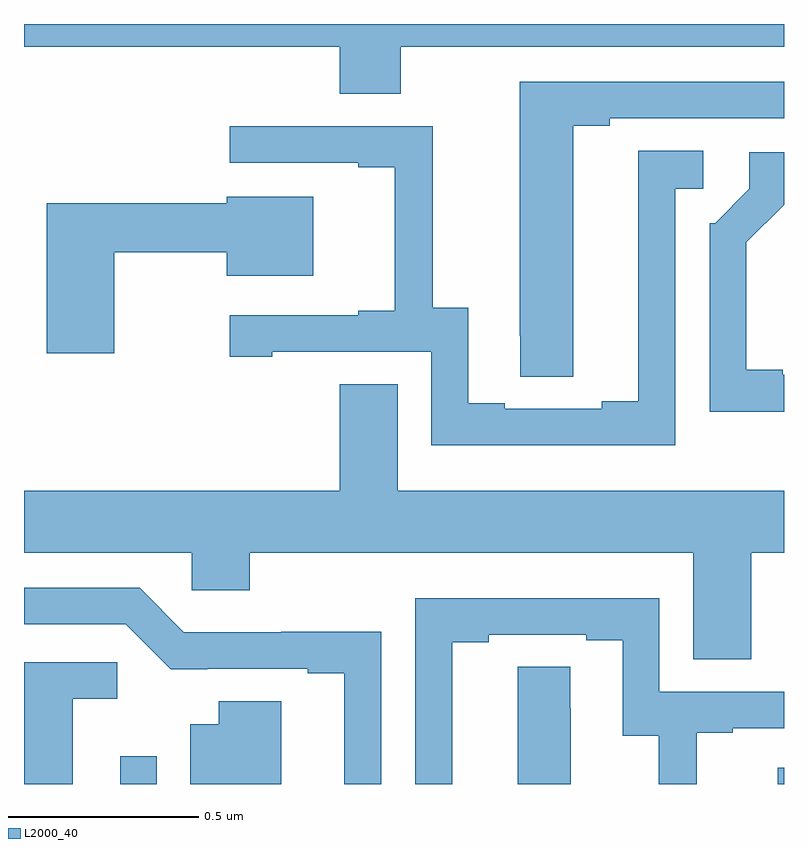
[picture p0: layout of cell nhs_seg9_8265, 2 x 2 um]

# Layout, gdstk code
import gdstk
lib = gdstk.Library(unit=1e-6, precision=1e-09)
def R(c, l, rs):  # rectangles x0, y0, x1, y1
    for r in rs: c.add(gdstk.rectangle(r[:2], r[2:], *l))
def P(c, l, *ps):  # polygons
    for p in ps: c.add(gdstk.Polygon(p, *l))
L2000_40 = (2000, 40)

nhs_seg9_8265 = lib.new_cell('nhs_seg9_8265')
R(nhs_seg9_8265, L2000_40, [(215.253,1174.5,215.349,1174.573), (216.983,1174.5,217,1174.543)])
P(nhs_seg9_8265, L2000_40, [(215.991,1176.44),(217,1176.44),(217,1176.5),(215,1176.5),(215,1176.44),(215.831,1176.44),(215.831,1176.316),(215.991,1176.316)],
  [(216.445,1176.232),(216.541,1176.232),(216.541,1176.252),(217,1176.252),(217,1176.348),(216.305,1176.348),(216.305,1175.68),(216.306,1175.68),(216.306,1175.572),(216.445,1175.572)],
  [(216.714,1176.066),(216.787,1176.066),(216.787,1176.167),(216.617,1176.167),(216.617,1175.507),(216.521,1175.507),(216.521,1175.487),(216.265,1175.487),(216.265,1175.502),(216.169,1175.502),(216.169,1175.753),(216.075,1175.753),(216.075,1176.231),(215.541,1176.231),(215.541,1176.135),(215.879,1176.135),(215.879,1176.123),(215.975,1176.123),(215.975,1175.746),(215.879,1175.746),(215.879,1175.733),(215.541,1175.733),(215.541,1175.625),(215.653,1175.625),(215.653,1175.637),(216.072,1175.637),(216.072,1175.391),(216.714,1175.391)],
  [(217,1175.577),(216.997,1175.577),(216.997,1175.59),(216.901,1175.59),(216.901,1175.926),(217,1176.025),(217,1176.162),(216.909,1176.162),(216.909,1176.066),(216.819,1175.976),(216.804,1175.976),(216.804,1175.48),(217,1175.48)],
  [(215.238,1175.899),(215.534,1175.899),(215.534,1175.837),(215.761,1175.837),(215.761,1176.046),(215.534,1176.046),(215.534,1176.028),(215.06,1176.028),(215.06,1175.634),(215.238,1175.634)],
  [(216.914,1175.108),(217,1175.108),(217,1175.272),(215.983,1175.272),(215.983,1175.552),(215.831,1175.552),(215.831,1175.272),(215,1175.272),(215,1175.108),(215.442,1175.108),(215.442,1175.01),(215.594,1175.01),(215.594,1175.108),(216.761,1175.108),(216.761,1174.828),(216.914,1174.828)],
  [(215.94,1174.901),(215.677,1174.901),(215.677,1174.899),(215.421,1174.899),(215.304,1175.016),(215,1175.016),(215,1174.92),(215.268,1174.92),(215.386,1174.802),(215.482,1174.802),(215.482,1174.803),(215.747,1174.803),(215.747,1174.791),(215.843,1174.791),(215.843,1174.5),(215.94,1174.5)],
  [(216.127,1174.873),(216.223,1174.873),(216.223,1174.893),(216.479,1174.893),(216.479,1174.878),(216.575,1174.878),(216.575,1174.627),(216.67,1174.627),(216.67,1174.5),(216.77,1174.5),(216.77,1174.635),(216.865,1174.635),(216.865,1174.647),(217,1174.647),(217,1174.743),(216.672,1174.743),(216.672,1174.989),(216.03,1174.989),(216.03,1174.5),(216.127,1174.5)],
  [(215.128,1174.724),(215.245,1174.724),(215.245,1174.821),(215,1174.821),(215,1174.5),(215.128,1174.5)],
  [(216.439,1174.7),(216.438,1174.7),(216.438,1174.808),(216.299,1174.808),(216.299,1174.5),(216.439,1174.5)],
  [(215.677,1174.718),(215.513,1174.718),(215.513,1174.657),(215.438,1174.657),(215.438,1174.5),(215.677,1174.5)])

lib.write_gds('nhs_seg9_8265.gds')
